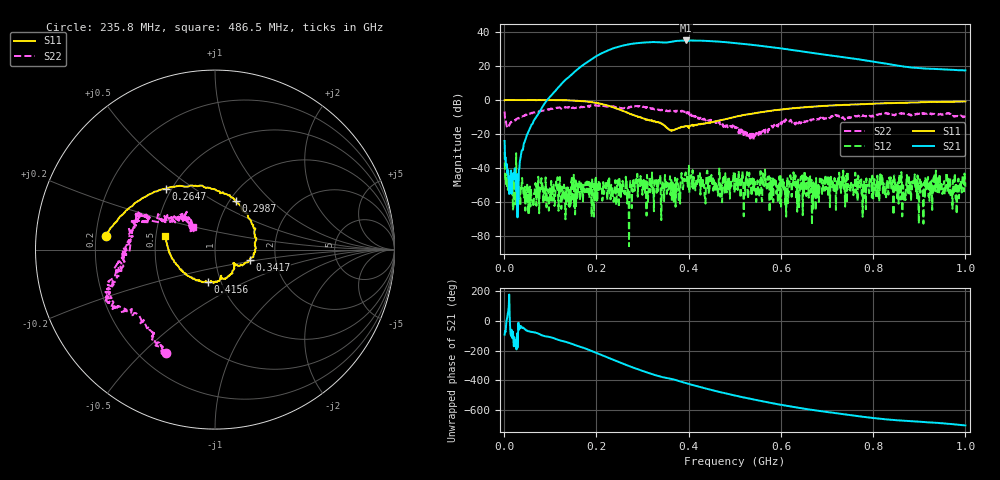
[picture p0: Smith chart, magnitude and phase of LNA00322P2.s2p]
! Created with skrf 1.9.0 (http://scikit-rf.org).
# Hz S RI R 50.0
!freq ReS11 ImS11 ReS21 ImS21 ReS12 ImS12 ReS22 ImS22
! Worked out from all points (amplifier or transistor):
!   1001 points, 1 MHz to 1 GHz, reference 50 ohm
!   highest |S21| = 34.9 dB at 394.6 MHz (marker M1)
!   |S21| within 3 dB of that: 257.3 MHz to 551.2 MHz (293.9 MHz wide, 72.7 % of centre)
!   unconditionally stable (mu >= 1): start of sweep to 74.76 MHz; 309.8 MHz to 400.4 MHz; 400.7 MHz to end of sweep (the widest 3 of 28)
!   at 166.8 MHz: K = 1.45, MAG = 29.9 dB, |S12| = -48.2 dB
!   at 500.5 MHz: K = 1.43, MAG = 34.1 dB, |S12| = -42.5 dB
!   at 1 GHz: K = 3.79, MAG = 25.4 dB, |S12| = -50.9 dB
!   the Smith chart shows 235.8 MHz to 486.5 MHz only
!   S11 on the Smith chart (normalised r, x): 235.8 MHz: 0.24, +0.06; 264.7 MHz: 0.47, +0.39; 298.7 MHz: 1.06, +0.63; 341.7 MHz: 1.47, -0.18; 415.6 MHz: 0.86, -0.33; 486.5 MHz: 0.56, +0.10
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1000000  0.9815 0.00456  -0.00316 -0.0627  -0.0274 0.0108  0.3269 0.3215
1.08892e8  0.5102 -0.851  -0.8146 -1.514  -0.000497 -0.000598  0.4232 -0.3832
1.67833e8  -0.253 -0.8952  -9.884 -0.4807  0.000657 0.00194  0.0402 -0.6334
2.06794e8  -0.6668 -0.4146  -15.71 15.07  -0.000788 -0.00405  -0.1719 -0.656
2.35765e8  -0.6081 0.0741  -4.607 32.15  0.00134 -0.00033  -0.2733 -0.5784
2.64736e8  -0.2732 0.3389  19.09 36.74  -0.00218 -0.00284  -0.45 -0.3526
2.98702e8  0.1144 0.2719  43.85 19.08  0.00371 0.00219  -0.585 -0.2286
3.17683e8  0.2131 0.1373  49.43 3.139  -0.00253 0.00355  -0.5498 -0.1169
3.34666e8  0.2244 -0.0102  48.3 -11  -0.00248 0.00372  -0.5064 -0.04
3.41659e8  0.1934 -0.0585  46.39 -15.55  -0.000997 0.00229  -0.4965 -0.0287
3.7063e8  0.1092 -0.083  42.02 -32.93  -0.000147 0.00524  -0.4573 0.151
3.94606e8  0.0605 -0.1605  27.38 -48.52  0.000263 0.00447  -0.4078 0.1879
4.15585e8  -0.0407 -0.1823  10.78 -54.16  0.000393 0.00308  -0.2657 0.1929
4.46554e8  -0.1879 -0.1166  -13.01 -51.78  0.00335 0.00452  -0.1806 0.1666
4.86514e8  -0.2768 0.078  -33.92 -35.02  0.00168 0.00172  -0.124 0.1279
5.005e8  -0.2747 0.1627  -38.15 -27.43  0.0071 -0.00251  -0.1277 0.0799
5.39461e8  -0.1839 0.3562  -40.51 -7.008  0.00477 -0.00025  -0.1022 0.00955
5.84416e8  0.0169 0.4962  -33.31 10.65  0.00333 -0.00416  -0.1721 -0.0458
6.67333e8  0.4029 0.4887  -11.56 20.96  3.63e-05 0.000215  -0.2669 0.0116
7.53247e8  0.6751 0.2854  2.276 16.52  -0.00314 -0.000575  -0.2926 0.0979
8.34166e8  0.8026 0.0258  6.752 8.995  -0.00245 -0.00444  -0.3537 0.1703
1e9  0.7355 -0.5223  7.16 1.723  0.00283 0.000388  -0.0533 0.3082
